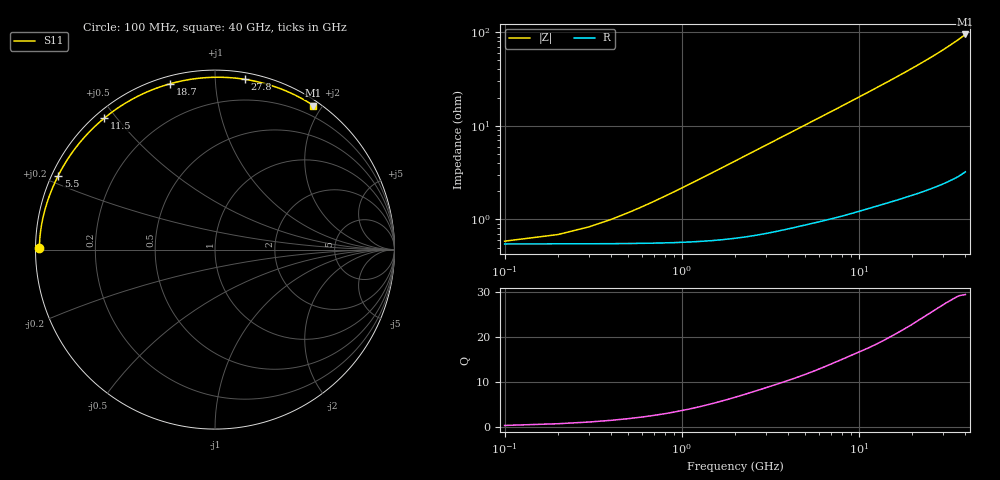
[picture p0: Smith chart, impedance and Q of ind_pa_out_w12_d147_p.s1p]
#  Hz  S  RI  R  50
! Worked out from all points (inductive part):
!   400 points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, 100 MHz to 40 GHz, reference 50 ohm
!   read as one part to ground: L = 332 pH near 900 MHz
!   highest Q = 29.4 at 40 GHz (marker M1), where L = 377 pH
!   S11 on the Smith chart (normalised r, x): 100 MHz: 0.01, +0.00; 5.5 GHz: 0.02, +0.22; 11.5 GHz: 0.03, +0.46; 18.7 GHz: 0.03, +0.77; 27.8 GHz: 0.05, +1.19; 40 GHz: 0.06, +1.89
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1e8  -0.9783 0.00818
1.2e9  -0.9723 0.0975
2.4e9  -0.9552 0.1919
3.7e9  -0.9266 0.2885
5.1e9  -0.8866 0.3857
5.5e9  -0.8736 0.4122
6.7e9  -0.8309 0.4881
7.8e9  -0.7873 0.5527
9e9  -0.7354 0.6174
1.01e10  -0.6847 0.6713
1.15e10  -0.617 0.7324
1.24e10  -0.572 0.7673
1.33e10  -0.5263 0.7989
1.42e10  -0.4801 0.8273
1.51e10  -0.4335 0.8525
1.69e10  -0.3404 0.894
1.87e10  -0.2485 0.9244
2.01e10  -0.1786 0.9411
2.13e10  -0.1202 0.951
2.25e10  -0.0633 0.9572
2.38e10  -0.00369 0.9602
2.51e10  0.0537 0.9596
2.78e10  0.1656 0.9489
3.01e10  0.2529 0.9314
3.26e10  0.3394 0.9056
3.51e10  0.4176 0.8745
3.75e10  0.4854 0.8407
4e10  0.5485 0.8028
